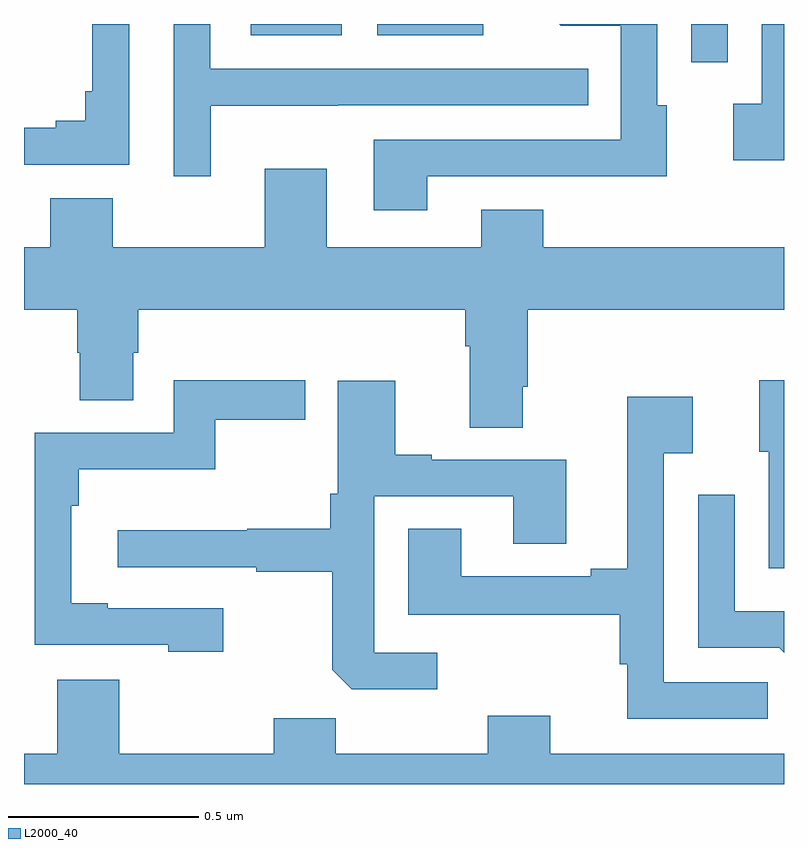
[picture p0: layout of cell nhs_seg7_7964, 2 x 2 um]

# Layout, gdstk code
import gdstk
lib = gdstk.Library(unit=1e-6, precision=1e-09)
def R(c, l, rs):  # rectangles x0, y0, x1, y1
    for r in rs: c.add(gdstk.rectangle(r[:2], r[2:], *l))
def P(c, l, *ps):  # polygons
    for p in ps: c.add(gdstk.Polygon(p, *l))
L2000_40 = (2000, 40)

nhs_seg7_7964 = lib.new_cell('nhs_seg7_7964')
R(nhs_seg7_7964, L2000_40, [(219.756,1035.9,219.852,1036), (218.597,1035.971,218.836,1036), (218.93,1035.971,219.208,1036)])
P(nhs_seg7_7964, L2000_40, [(218.491,1035.785),(218.825,1035.785),(218.825,1035.786),(219.485,1035.786),(219.485,1035.882),(218.49,1035.882),(218.49,1036),(218.394,1036),(218.394,1035.6),(218.491,1035.6)],
  [(218.277,1036),(218.18,1036),(218.18,1035.823),(218.161,1035.823),(218.161,1035.746),(218.084,1035.746),(218.084,1035.727),(218,1035.727),(218,1035.63),(218.277,1035.63)],
  [(220,1036),(219.942,1036),(219.942,1035.79),(219.867,1035.79),(219.867,1035.642),(220,1035.642)],
  [(219.061,1035.6),(219.473,1035.6),(219.473,1035.599),(219.691,1035.599),(219.691,1035.786),(219.666,1035.786),(219.666,1036),(219.409,1036),(219.413,1035.996),(219.57,1035.996),(219.57,1035.696),(218.921,1035.696),(218.921,1035.51),(219.061,1035.51)],
  [(219.313,1035.046),(219.326,1035.046),(219.326,1035.248),(220,1035.248),(220,1035.412),(219.367,1035.412),(219.367,1035.511),(219.203,1035.511),(219.203,1035.412),(218.797,1035.412),(218.797,1035.619),(218.633,1035.619),(218.633,1035.412),(218.233,1035.412),(218.233,1035.541),(218.069,1035.541),(218.069,1035.412),(218,1035.412),(218,1035.248),(218.14,1035.248),(218.14,1035.135),(218.147,1035.135),(218.147,1035.01),(218.287,1035.01),(218.287,1035.135),(218.3,1035.135),(218.3,1035.248),(219.161,1035.248),(219.161,1035.152),(219.173,1035.152),(219.173,1034.938),(219.313,1034.938)],
  [(220,1035.062),(219.935,1035.062),(219.935,1034.874),(219.96,1034.874),(219.96,1034.568),(220,1034.568)],
  [(218.524,1034.463),(218.221,1034.463),(218.221,1034.476),(218.124,1034.476),(218.124,1034.732),(218.144,1034.732),(218.144,1034.828),(218.503,1034.828),(218.503,1034.959),(218.74,1034.959),(218.74,1035.062),(218.394,1035.062),(218.394,1034.925),(218.028,1034.925),(218.028,1034.367),(218.379,1034.367),(218.379,1034.348),(218.524,1034.348)],
  [(219.088,1034.346),(218.922,1034.346),(218.922,1034.757),(219.287,1034.757),(219.287,1034.632),(219.427,1034.632),(219.427,1034.853),(219.073,1034.853),(219.073,1034.866),(218.977,1034.866),(218.977,1035.061),(218.826,1035.061),(218.826,1034.764),(218.806,1034.764),(218.806,1034.672),(218.587,1034.672),(218.587,1034.668),(218.247,1034.668),(218.247,1034.571),(218.611,1034.571),(218.611,1034.559),(218.811,1034.559),(218.811,1034.301),(218.863,1034.25),(219.088,1034.25)],
  [(219.957,1034.268),(219.684,1034.268),(219.684,1034.87),(219.76,1034.87),(219.76,1035.019),(219.587,1035.019),(219.587,1034.567),(219.491,1034.567),(219.491,1034.547),(219.151,1034.547),(219.151,1034.672),(219.011,1034.672),(219.011,1034.446),(219.568,1034.446),(219.568,1034.315),(219.587,1034.315),(219.587,1034.172),(219.957,1034.172)],
  [(220,1034.454),(219.87,1034.454),(219.87,1034.761),(219.774,1034.761),(219.774,1034.358),(219.987,1034.358),(220,1034.345)],
  [(220,1034.08),(219.385,1034.08),(219.385,1034.179),(219.221,1034.179),(219.221,1034.08),(218.821,1034.08),(218.821,1034.173),(218.657,1034.173),(218.657,1034.08),(218.251,1034.08),(218.251,1034.275),(218.087,1034.275),(218.087,1034.08),(218,1034.08),(218,1034),(220,1034)])

lib.write_gds('nhs_seg7_7964.gds')
